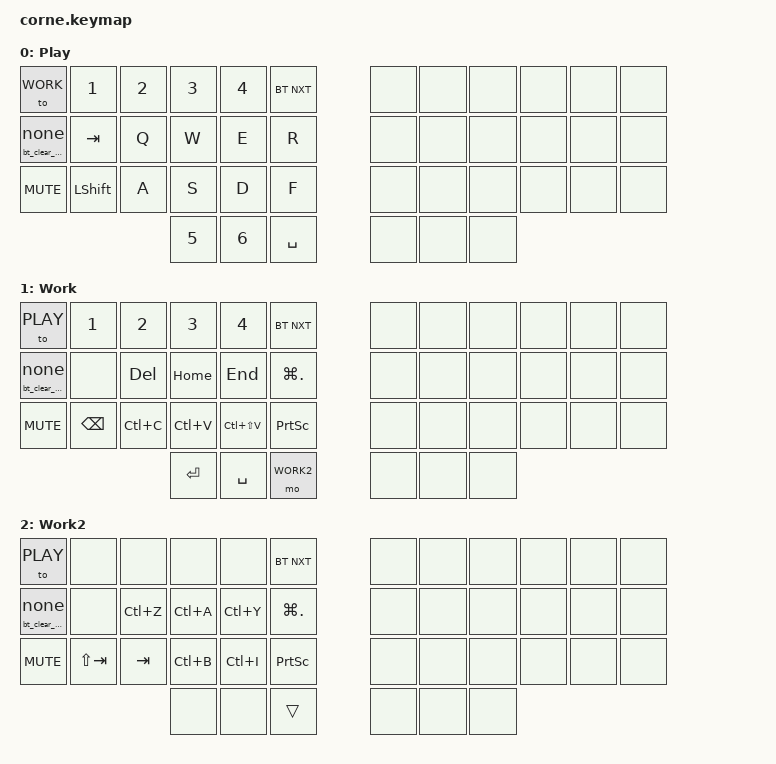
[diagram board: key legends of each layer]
/*
 * WorkPlayMate - Left-Side Corne Keymap
 * nice!nano v2 + nice!view
 *
 * Bluetooth:
 * - Two host profiles (configured in corne.conf)
 * - BT_NXT cycles between profiles 1 and 2
 * - First key on row 2: hold for 4 seconds to BT_CLR current profile
 *
 * Layer switching:
 * - Top-left on PLAY  -> WORK
 * - Top-left on WORK  -> PLAY
 * - Top-left on WORK2 -> PLAY
 */

#include <behaviors.dtsi>
#include <dt-bindings/zmk/keys.h>
#include <dt-bindings/zmk/bt.h>

#define PLAY  0
#define WORK  1
#define WORK2 2

/ {
    macros {
        bt_clear_macro: bt_clear_macro {
            compatible = "zmk,behavior-macro";
            #binding-cells = <0>;
            bindings = <&bt BT_CLR>;
        };
    };

    behaviors {
        bt_clear_hold: bt_clear_hold {
            compatible = "zmk,behavior-hold-tap";
            #binding-cells = <2>;
            flavor = "tap-preferred";
            tapping-term-ms = <4000>;
            bindings = <&bt_clear_macro>, <&none>;
        };
    };

    keymap {
        compatible = "zmk,keymap";

        /*
         * ============================================================
         * LAYER 0 — PLAY
         * ============================================================
         *
         * | WORK |  1   |  2   |   3   |   4   | BT NXT |
         * | CLR* | TAB  |  Q   |   W   |   E   |   R    |
         * | MUTE | SHFT |  A   |   S   |   D   |   F    |
         *                  | 5 | 6 | SPACE |
         *
         * CLR* = hold 4 seconds to clear current BT profile
         * RIGHT HALF = NONE
         */
        play_layer {
            display-name = "Play";

            bindings = <
                /* Row 1:  WORK     1         2         3         4         BT NXT       | right half */
                &to WORK            &kp N1    &kp N2    &kp N3    &kp N4    &bt BT_NXT     &none &none &none &none &none &none

                /* Row 2:  CLR*     TAB       Q         W         E         R            | right half */
                &bt_clear_hold 0 0   &kp TAB   &kp Q     &kp W     &kp E     &kp R         &none &none &none &none &none &none

                /* Row 3:  MUTE     SHFT      A         S         D         F            | right half */
                &kp C_MUTE          &kp LSHIFT &kp A    &kp S     &kp D     &kp F         &none &none &none &none &none &none

                /* Thumbs: 5        6         SPACE                                      | right half */
                &kp N5              &kp N6     &kp SPACE                                   &none &none &none
            >;
        };

        /*
         * ============================================================
         * LAYER 1 — WORK
         * ============================================================
         *
         * | PLAY |  1   |  2   |   3   |   4   | BT NXT |
         * | CLR* | NONE | DEL  | HOME  | END   | WIN+.  |
         * | MUTE | BKSP | COPY | PASTE | SP.P  | PRTSC  |
         *                | ENTER | SPACE | LAYER 2 |
         *
         * CLR* = hold 4 seconds to clear current BT profile
         * Special Paste = CTRL + SHIFT + V
         * RIGHT HALF = NONE
         */
        work_layer {
            display-name = "Work";

            bindings = <
                /* Row 1:  PLAY     1         2         3         4         BT NXT       | right half */
                &to PLAY            &kp N1    &kp N2    &kp N3    &kp N4    &bt BT_NXT     &none &none &none &none &none &none

                /* Row 2:  CLR*     NONE      DEL       HOME      END       WIN+.        | right half */
                &bt_clear_hold 0 0   &none     &kp DELETE &kp HOME &kp END   &kp LG(DOT)    &none &none &none &none &none &none

                /* Row 3:  MUTE     BKSP      COPY      PASTE     SP.P      PRTSC        | right half */
                &kp C_MUTE          &kp BACKSPACE &kp LC(C) &kp LC(V) &kp LC(LS(V)) &kp PRINTSCREEN  &none &none &none &none &none &none

                /* Thumbs: ENTER    SPACE     LAYER 2                                    | right half */
                &kp ENTER           &kp SPACE  &mo WORK2                                   &none &none &none
            >;
        };

        /*
         * ============================================================
         * LAYER 2 — WORK 2
         * ============================================================
         *
         * | PLAY | NONE  | NONE | NONE    | NONE | BT NXT |
         * | CLR* | NONE  | UNDO | SEL ALL | REDO | WIN+.  |
         * | MUTE | S+TAB | TAB  | BOLD    | ITAL | PRTSC  |
         *                  | NONE | NONE | THROUGH |
         *
         * CLR* = hold 4 seconds to clear current BT profile
         * UNDO = CTRL + Z
         * REDO = CTRL + Y
         * THROUGH = transparent to Layer 1
         * RIGHT HALF = NONE
         */
        work2_layer {
            display-name = "Work2";

            bindings = <
                /* Row 1:  PLAY     NONE      NONE      NONE      NONE      BT NXT       | right half */
                &to PLAY            &none      &none      &none      &none      &bt BT_NXT   &none &none &none &none &none &none

                /* Row 2:  CLR*     NONE      UNDO      SEL ALL   REDO      WIN+.        | right half */
                &bt_clear_hold 0 0   &none      &kp LC(Z)  &kp LC(A)  &kp LC(Y)  &kp LG(DOT)  &none &none &none &none &none &none

                /* Row 3:  MUTE     S+TAB     TAB       BOLD      ITAL      PRTSC        | right half */
                &kp C_MUTE          &kp LS(TAB) &kp TAB   &kp LC(B)  &kp LC(I)  &kp PRINTSCREEN  &none &none &none &none &none &none

                /* Thumbs: NONE     NONE      THROUGH                                    | right half */
                &none               &none      &trans                                      &none &none &none
            >;
        };
    };
};
